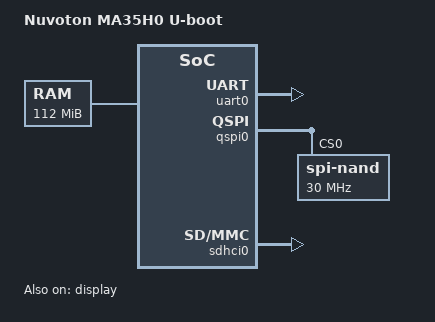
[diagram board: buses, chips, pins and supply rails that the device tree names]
// SPDX-License-Identifier:
/*
 * Copyright 2020 - Nuvoton Technology Corporation
 *
 */

/dts-v1/;
#include "ma35h0.dtsi"

/ {
	model = "Nuvoton MA35H0 U-boot";
	compatible = "nuvoton,ma35h0";

	aliases {
		spi0 = &qspi0;
	};

	memory {
		device_type = "memory";
		reg = <0x00000000 0x80000000 0 0x07000000>; /* 112M */
	};

};

&uart0 {
	status = "okay";
};

&qspi0 {
        status = "okay";

	#address-cells = <1>;
	#size-cells = <0>;
	spi-nand@0 {
		#address-cells = <1>;
		#size-cells = <1>;
		compatible = "spi-nand";
		spi-max-frequency = <30000000>;
		spi-tx-bus-width = <1>;
		spi-rx-bus-width = <4>;
		reg = <0>;
	};
};

&display {
	status = "okay";
	//RGB interface
	swizzle = <0>;//0:ARGB, 1:RGBA, 2:ABGR, 3:BGRA
	pixel-fmt = <6>;//RGB888
	dpi-config = <5>;//0:D16CFG1, 1:D16CFG2, 2:D16CFG3, 3:D18CFG1, 4:D18CFG2, 5:D24

	display-timings {
		native-mode = <&timing0>;

		timing0: 1024x600 {
			clock-frequency = <51000000>;//pixel clock(pixclock)
			hactive = <1024>;
			vactive = <600>;
			hsync-len = <1>;
			hfront-porch = <160>;
			hback-porch = <160>;
			vsync-len = <1>;
			vfront-porch  = <23>;
			vback-porch = <12>;
		};

		timing1: 800x480 {
			clock-frequency = <45000000>;
			hactive = <800>;
			vactive = <480>;
			hsync-len = <1>;
			hfront-porch = <210>;
			hback-porch = <46>;
			vsync-len = <1>;
			vfront-porch  = <22>;
			vback-porch = <23>;
		};

	};
};

&sdhci0 {
	status = "okay";
};

